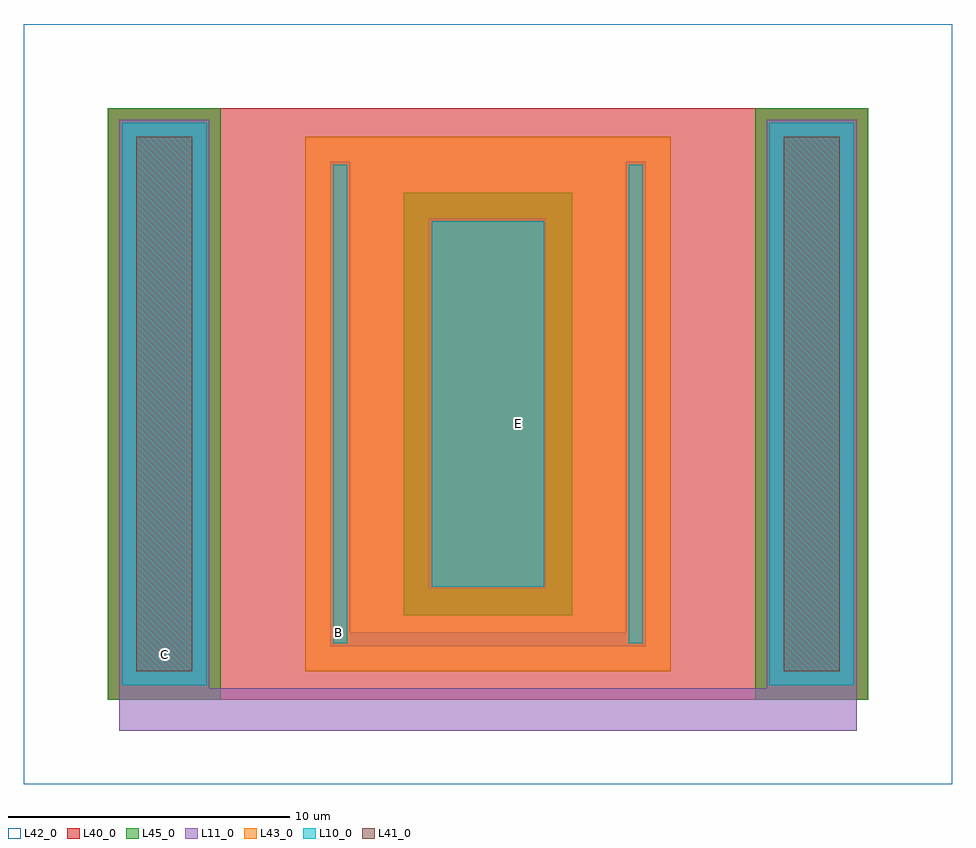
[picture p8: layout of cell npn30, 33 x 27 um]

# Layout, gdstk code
import gdstk
lib = gdstk.Library(unit=1e-6, precision=1e-09)
def R(c, l, rs):  # rectangles x0, y0, x1, y1
    for r in rs: c.add(gdstk.rectangle(r[:2], r[2:], *l))
def P(c, l, *ps):  # polygons
    for p in ps: c.add(gdstk.Polygon(p, *l))
L10_0 = (10, 0)
L11_0 = (11, 0)
L40_0 = (40, 0)
L41_0 = (41, 0)
L42_0 = (42, 0)
L43_0 = (43, 0)
L45_0 = (45, 0)

npn30 = lib.new_cell('npn30')
R(npn30, L10_0, [(3.5,3.5,6.5,23.5), (26.5,3.5,29.5,23.5), (11,5,11.5,22), (21.5,5,22,22), (14.5,7,18.5,20)])
R(npn30, L11_0, [(14.4,6.95,18.55,20.1)])
P(npn30, L11_0, [(22.1,22.1),(21.4,22.1),(21.4,5.4),(11.6,5.4),(11.6,22.1),(10.9,22.1),(10.9,4.9),(22.1,4.9)],
  [(29.6,23.6),(26.4,23.6),(26.4,3.4),(6.6,3.4),(6.6,23.6),(3.4,23.6),(3.4,1.9),(29.6,1.9)])
R(npn30, L40_0, [(3,3,30,24)])
R(npn30, L41_0, [(4,4,6,23), (27,4,29,23)])
R(npn30, L42_0, [(0,0,33,27)])
R(npn30, L43_0, [(10,4,23,23)])
R(npn30, L45_0, [(3,3,7,24), (26,3,30,24), (13.5,6,19.5,21)])
npn30.add(gdstk.Label('B', (11.2,5.4), layer=11, texttype=0))
npn30.add(gdstk.Label('C', (5,4.6), layer=11, texttype=0))
npn30.add(gdstk.Label('E', (17.6,12.8), layer=11, texttype=0))

lib.write_gds('npn30.gds')
